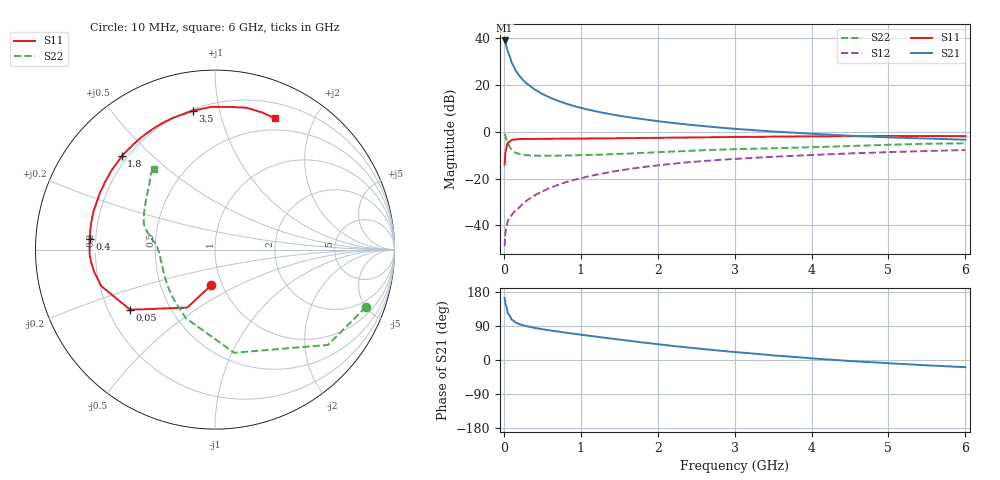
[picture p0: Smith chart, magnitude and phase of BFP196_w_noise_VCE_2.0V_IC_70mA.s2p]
! (c) 2017  Infineon Technologies AG, Munich
! Infineon Technologies  Discrete & RF Semiconductors
! BFP196
! VCE =  2.0 V,  IC =  70 mA
! Common Emitter S-Parameters:  Jan 2017
# GHz  S  MA  R  50
!  f  S11  S21  S12  S22
! GHz  MAG  ANG  MAG  ANG  MAG  ANG  MAG  ANG
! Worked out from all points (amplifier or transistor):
!   77 points, 10 MHz to 6 GHz, reference 50 ohm
!   highest |S21| = 38.9 dB at 10 MHz (marker M1)
!   |S21| within 3 dB of that: start of sweep to 37.34 MHz
!   unconditionally stable (mu >= 1): 395.9 MHz to 2.555 GHz
!   at 130 MHz: K = 0.74, MSG = 31.1 dB, |S12| = -34.4 dB
!   at 2.2 GHz: K = 1.01, MAG = 8.0 dB, |S12| = -13.7 dB
!   at 6 GHz: K = 0.97, MSG = 2.2 dB, |S12| = -7.9 dB
!   lowest NFmin = 1.68 dB at 450 MHz
!   S11 on the Smith chart (normalised r, x): 10 MHz: 0.89, -0.37; 50 MHz: 0.29, -0.29; 400 MHz: 0.18, +0.04; 1.8 GHz: 0.18, +0.40; 3.5 GHz: 0.21, +0.83; 6 GHz: 0.36, +1.50
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0.01  0.1996 -96.0  88.47 163.7  0.0036 74.7  0.9 -20.8
0.02  0.3585 -115.6  80.48 149.7  0.0068 69.2  0.8233 -40.2
0.05  0.5795 -144.7  52.45 123.6  0.0123 53.5  0.5845 -79.5
0.1  0.6654 -162.2  30.14 106.8  0.0164 57.9  0.415 -113.1
0.15  0.6858 -170.1  20.71 99.5  0.0208 58.6  0.3571 -131.1
0.2  0.6946 -174.5  15.69 94.8  0.024 63.2  0.3333 -142.1
0.25  0.699 -178.1  12.6 91.5  0.0294 64.3  0.3204 -149.3
0.3  0.6989 179.4  10.54 89.0  0.034 66.6  0.3141 -154.9
0.4  0.7014 175.1  7.959 84.7  0.0436 68.5  0.3082 -162.0
0.5  0.7036 171.3  6.373 81.2  0.0529 69.4  0.307 -166.8
0.6  0.7055 168.1  5.337 78.0  0.0633 68.7  0.3081 -170.4
0.7  0.7074 165.2  4.577 75.3  0.0728 69.0  0.3074 -173.3
0.9  0.7093 159.3  3.568 69.5  0.0923 67.0  0.3125 -177.4
1.1  0.7151 153.7  2.947 64.3  0.1112 64.7  0.3183 179.2
1.4  0.7212 145.6  2.345 56.4  0.1394 60.8  0.3304 175.1
1.8  0.7357 135.0  1.857 46.4  0.1747 54.8  0.3524 170.9
2.1  0.7422 127.4  1.603 39.5  0.1987 50.4  0.3706 168.0
3.1  0.7714 106.2  1.121 19.4  0.2678 36.0  0.4273 158.2
3.5  0.7836 99.1  1.01 12.2  0.2911 31.0  0.443 153.3
4.1  0.7955 89.8  0.886 3.0  0.3227 23.4  0.471 144.9
5.1  0.8087 76.2  0.745 -9.6  0.3696 11.6  0.5304 133.1
6  0.8042 65.3  0.675 -19.0  0.405 1.7  0.5639 126.8
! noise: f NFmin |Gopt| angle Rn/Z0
0.45  1.68  0.46  -172  0.06
0.9  1.84  0.5  -159  0.09
1.9  2.66  0.69  -131  0.36
2.4  3.05  0.7  -117  0.79
